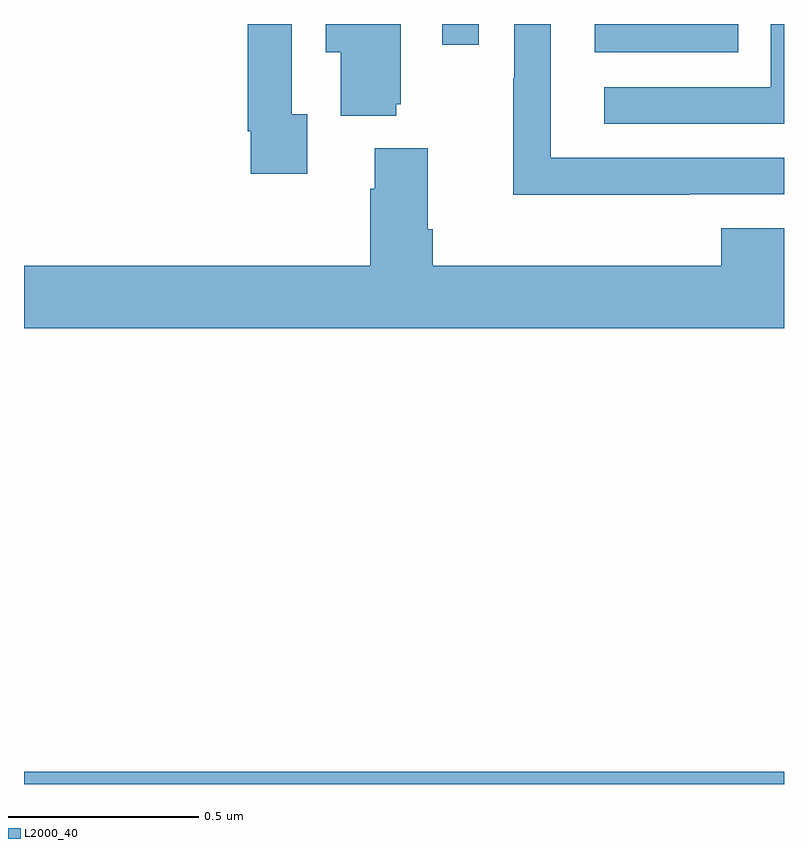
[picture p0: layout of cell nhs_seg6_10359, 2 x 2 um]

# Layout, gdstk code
import gdstk
lib = gdstk.Library(unit=1e-6, precision=1e-09)
def R(c, l, rs):  # rectangles x0, y0, x1, y1
    for r in rs: c.add(gdstk.rectangle(r[:2], r[2:], *l))
def P(c, l, *ps):  # polygons
    for p in ps: c.add(gdstk.Polygon(p, *l))
L2000_40 = (2000, 40)

nhs_seg6_10359 = lib.new_cell('nhs_seg6_10359')
R(nhs_seg6_10359, L2000_40, [(246,915.5,248,915.532), (247.502,917.426,247.88,917.5), (247.101,917.445,247.197,917.5)])
P(nhs_seg6_10359, L2000_40, [(246.98,917.289),(246.991,917.289),(246.991,917.5),(246.794,917.5),(246.794,917.426),(246.833,917.426),(246.833,917.258),(246.98,917.258)],
  [(246.745,917.262),(246.705,917.262),(246.705,917.5),(246.589,917.5),(246.589,917.218),(246.597,917.218),(246.597,917.106),(246.745,917.106)],
  [(248,917.5),(247.965,917.5),(247.965,917.334),(247.527,917.334),(247.527,917.238),(248,917.238)],
  [(247.751,917.052),(248,917.052),(248,917.148),(247.386,917.148),(247.386,917.5),(247.29,917.5),(247.29,917.357),(247.288,917.357),(247.288,917.051),(247.751,917.051)],
  [(248,916.963),(247.835,916.963),(247.835,916.864),(247.076,916.864),(247.076,916.96),(247.063,916.96),(247.063,917.173),(246.923,917.173),(246.923,917.066),(246.911,917.066),(246.911,916.864),(246,916.864),(246,916.7),(248,916.7)])

lib.write_gds('nhs_seg6_10359.gds')
